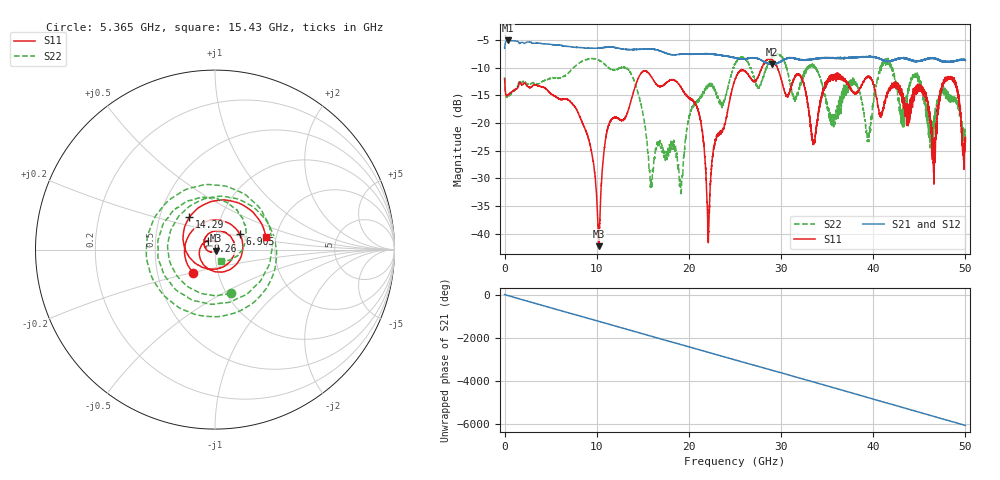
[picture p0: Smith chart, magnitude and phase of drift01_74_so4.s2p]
!Created with skrf (http://scikit-rf.org).
# Hz S RI R 50.0
!freq ReS11 ImS11 ReS21 ImS21 ReS12 ImS12 ReS22 ImS22
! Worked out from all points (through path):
!   10001 points, 300 kHz to 50 GHz, reference 50 ohm
!   highest |S21| = -5.05 dB at 325.3 MHz (marker M1); lowest = -9.4 dB at 28.98 GHz (marker M2)
!   group delay of S21, straight-line fit = 336 ps
!   lowest |S11| = -42.3 dB at 10.22 GHz (marker M3), VSWR 1.02, Z = 50.5 - j0.551 ohm
!   |S11| at or under -10 dB: start of sweep to 27.9 GHz; 29.6 GHz to end of sweep
!   |S22| runs from -33.0 to -7.5 dB; largest |S21 - S12| = 0.015
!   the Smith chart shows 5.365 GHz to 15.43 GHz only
!   S11 on the Smith chart (normalised r, x): 5.365 GHz: 0.76, -0.20; 6.905 GHz: 1.30, +0.23; 9.26 GHz: 0.92, +0.09; 14.29 GHz: 0.71, +0.27; 15.43 GHz: 1.77, +0.28
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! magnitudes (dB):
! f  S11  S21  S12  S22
! 300 kHz  -12.0  -6.4  -6.6  -11.7
! 325.3 MHz  -15.0  -5.1  -5.0  -15.3
! 5.365 GHz  -15.0  -5.8  -5.8  -11.8
! 6.905 GHz  -15.8  -6.1  -6.1  -11.0
! 8.335 GHz  -19.5  -6.3  -6.4  -8.9
! 9.26 GHz  -23.9  -6.4  -6.4  -8.4
! 10.22 GHz  -42.3  -6.4  -6.4  -8.6
! 11.23 GHz  -20.7  -6.3  -6.2  -9.9
! 14.29 GHz  -12.7  -6.7  -6.7  -13.5
! 15.43 GHz  -10.7  -6.6  -6.6  -22.9
! 16.67 GHz  -13.3  -6.8  -6.8  -23.3
! 19.14 GHz  -13.5  -7.5  -7.5  -33.0
! 20.86 GHz  -17.2  -7.5  -7.5  -16.1
! 22.12 GHz  -40.7  -7.5  -7.4  -13.2
! 25 GHz  -12.1  -8.2  -8.2  -9.3
! 28.98 GHz  -8.4  -9.4  -9.4  -8.1
! 33.34 GHz  -22.7  -8.5  -8.4  -9.6
! 39.46 GHz  -11.6  -7.9  -8.0  -21.8
! 41.67 GHz  -13.8  -8.7  -8.7  -9.2
! 46.56 GHz  -26.8  -8.3  -8.2  -20.5
! 48.56 GHz  -12.0  -8.8  -8.8  -16.1
! 50 GHz  -23.2  -8.6  -8.6  -23.4
